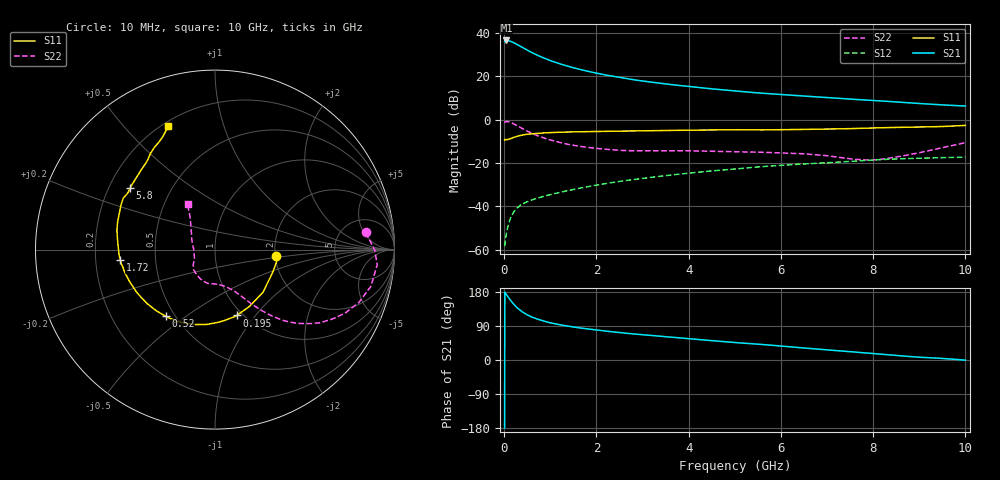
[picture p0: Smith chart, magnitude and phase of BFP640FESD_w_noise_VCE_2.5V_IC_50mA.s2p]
! Infineon Technologies  Discrete & RF Semiconductors
! BFP640FESD
! VCE =  2.5 V,  IC =  50 mA
! Common Emitter S-Parameters:  Jan 2016
# GHz  S  MA  R  50
!  f  S11  S21  S12  S22
! GHz  MAG  ANG  MAG  ANG  MAG  ANG  MAG  ANG
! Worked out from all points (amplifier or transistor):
!   233 points, 10 MHz to 10 GHz, reference 50 ohm
!   highest |S21| = 36.6 dB at 50 MHz (marker M1)
!   |S21| within 3 dB of that: start of sweep to 376.8 MHz
!   unconditionally stable (mu >= 1): start of sweep to 18.63 MHz; 1.871 GHz to end of sweep
!   at 200 MHz: K = 0.33, MSG = 39.3 dB, |S12| = -42.9 dB
!   at 1.74 GHz: K = 0.98, MSG = 27.0 dB, |S12| = -31.2 dB
!   at 10 GHz: K = 1.08, MAG = 10.1 dB, |S12| = -17.3 dB
!   lowest NFmin = 1.40 dB at 450 MHz
!   S11 on the Smith chart (normalised r, x): 10 MHz: 2.01, -0.16; 195 MHz: 0.94, -0.81; 520 MHz: 0.45, -0.42; 1.72 GHz: 0.31, -0.05; 5.8 GHz: 0.29, +0.30; 10 GHz: 0.22, +0.67
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0.01  0.3391 -5.9  63.85 -179.3  0.0012 116.8  0.8455 6.5
0.02  0.3513 -9.8  67.33 177.3  0.0014 99.8  0.8901 -0.2
0.05  0.3457 -21.4  67.51 172.5  0.0024 81.1  0.9077 -5.3
0.1  0.3578 -41.6  66.79 163.9  0.004 75.5  0.8927 -13.2
0.15  0.3704 -58.8  63.9 155.6  0.0057 71.5  0.854 -20.2
0.195  0.3863 -71.7  60.95 149.1  0.007 68.2  0.8111 -25.4
0.24  0.3996 -83.3  57.55 143.0  0.0082 65.5  0.7671 -29.9
0.3  0.4195 -96.3  53.14 135.9  0.0095 62.9  0.7085 -35.2
0.4  0.4434 -112.5  46.29 126.5  0.0113 59.6  0.6187 -41.6
0.52  0.4621 -126.5  39.34 118.1  0.013 57.8  0.5325 -46.9
0.7  0.4824 -141.1  31.49 108.7  0.0152 57.3  0.4371 -52.1
0.92  0.498 -152.4  25.02 100.6  0.0177 58.3  0.3617 -56.2
1.2  0.5126 -162.3  19.6 93.1  0.0208 60.0  0.2982 -60.5
1.68  0.5295 -173.0  14.15 84.0  0.0267 62.3  0.2386 -67.9
1.72  0.5304 -173.7  13.82 83.3  0.0272 62.5  0.2354 -68.5
2.4  0.5423 176.4  9.857 73.7  0.0361 63.3  0.1997 -80.9
3.4  0.5626 164.9  6.887 62.6  0.0496 62.0  0.1916 -98.4
5.1  0.5845 149.9  4.502 45.2  0.074 56.0  0.1811 -117.7
5.8  0.5833 144.2  3.95 38.9  0.0854 52.5  0.174 -124.4
6.8  0.6025 133.8  3.346 28.7  0.0988 46.7  0.153 -142.0
8.4  0.6599 121.1  2.607 12.8  0.1229 37.0  0.1322 163.2
10  0.7372 110.6  2.064 -0.4  0.1362 26.1  0.2953 121.2
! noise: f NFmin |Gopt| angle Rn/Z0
0.45  1.4  0.33  -171  0.09
2.4  1.49  0.36  -152  0.11
5.5  1.92  0.39  -139  0.16
10  2.79  0.55  -95  0.74
